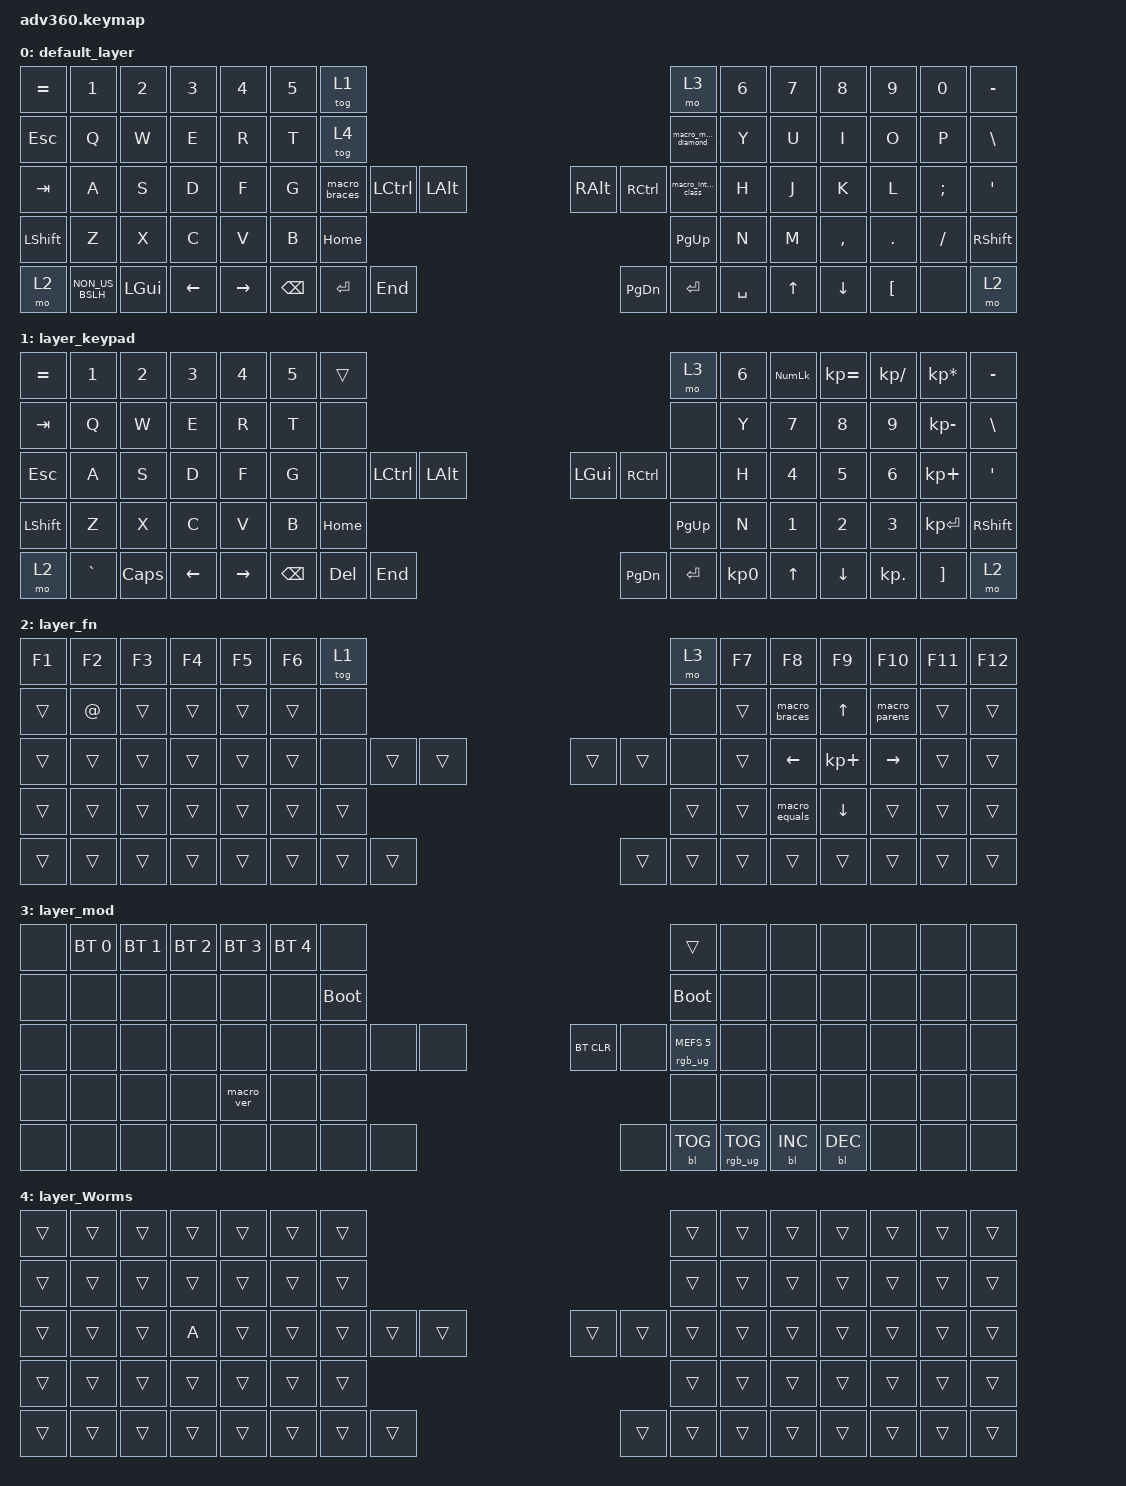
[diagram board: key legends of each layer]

/*
 * Copyright (c) 2020 The ZMK Contributors
 *
 * SPDX-License-Identifier: MIT
 */


/* THIS FILE WAS GENERATED!
 *
 * This file was generated automatically. You may or may not want to
 * edit it directly.
 */

#include <behaviors.dtsi>
#include <dt-bindings/zmk/keys.h>
#include <dt-bindings/zmk/bt.h>
#include <dt-bindings/zmk/rgb.h>
#include <dt-bindings/zmk/backlight.h>

/ {
  behaviors {
    #include "macros.dtsi"
    #include "version.dtsi"

    hm: homerow_mods {
        compatible = "zmk,behavior-hold-tap";
        label = "HOMEROW_MODS";
        #binding-cells = <2>;
        tapping-term-ms = <200>;
        quick_tap_ms = <175>;
        flavor = "tap-preferred";
        bindings = <&kp>, <&kp>;
    };
  };

    keymap {
        compatible = "zmk,keymap";


        default_layer {
            bindings = <
 &kp EQUAL           &kp N1    &kp N2    &kp N3     &kp N4  &kp N5                   &tog 1                                                                                 &mo 3  &kp N6  &kp N7     &kp N8    &kp N9    &kp N0  &kp MINUS
   &kp ESC            &kp Q     &kp W     &kp E      &kp R   &kp T                   &tog 4                                                                  &macro_macro_diamond   &kp Y   &kp U      &kp I     &kp O     &kp P   &kp BSLH
   &kp TAB            &kp A     &kp S     &kp D      &kp F   &kp G            &macro_braces  &kp LCTRL  &kp LEFT_ALT                   &kp RALT  &kp RCTRL  &macro_intellij_class   &kp H   &kp J      &kp K     &kp L  &kp SEMI    &kp SQT
 &kp LSHFT            &kp Z     &kp X     &kp C      &kp V   &kp B                                          &kp HOME                  &kp PG_UP                                     &kp N   &kp M  &kp COMMA   &kp DOT  &kp FSLH  &kp RSHFT
     &mo 2  &kp NON_US_BSLH  &kp LGUI  &kp LEFT  &kp RIGHT                         &kp BSPC  &kp ENTER       &kp END                  &kp PG_DN  &kp ENTER              &kp SPACE          &kp UP   &kp DOWN  &kp LBKT     &none      &mo 2
            >;
        };

        layer_keypad {
            bindings = <
 &kp EQUAL     &kp N1    &kp N2    &kp N3     &kp N4  &kp N5              &trans                                                                 &mo 3  &kp N6    &kp KP_NUM  &kp KP_EQUAL  &kp KP_DIVIDE  &kp KP_MULTIPLY  &kp MINUS
   &kp TAB      &kp Q     &kp W     &kp E      &kp R   &kp T               &none                                                                 &none   &kp Y  &kp NUMBER_7  &kp NUMBER_8         &kp N9     &kp KP_MINUS   &kp BSLH
   &kp ESC      &kp A     &kp S     &kp D      &kp F   &kp G               &none  &kp LCTRL  &kp LALT                   &kp LGUI  &kp RCTRL      &none   &kp H  &kp NUMBER_4  &kp NUMBER_5   &kp NUMBER_6      &kp KP_PLUS    &kp SQT
 &kp LSHFT      &kp Z     &kp X     &kp C      &kp V   &kp B                                 &kp HOME                  &kp PG_UP                         &kp N  &kp NUMBER_1  &kp NUMBER_2   &kp NUMBER_3     &kp KP_ENTER  &kp RSHFT
     &mo 2  &kp GRAVE  &kp CAPS  &kp LEFT  &kp RIGHT                    &kp BSPC    &kp DEL   &kp END                  &kp PG_DN  &kp ENTER  &kp KP_N0                &kp UP      &kp DOWN     &kp KP_DOT         &kp RBKT      &mo 2
            >;
        };

        layer_fn {
            bindings = <
 &kp F1       &kp F2  &kp F3  &kp F4  &kp F5  &kp F6            &tog 1                                                   &mo 3  &kp F7          &kp F8          &kp F9          &kp F10  &kp F11  &kp F12
 &trans  &kp AT_SIGN  &trans  &trans  &trans  &trans             &none                                                   &none  &trans   &macro_braces    &kp UP_ARROW    &macro_parens   &trans   &trans
 &trans       &trans  &trans  &trans  &trans  &trans             &none  &trans  &trans                  &trans  &trans   &none  &trans  &kp LEFT_ARROW     &kp KP_PLUS  &kp RIGHT_ARROW   &trans   &trans
 &trans       &trans  &trans  &trans  &trans  &trans                            &trans                  &trans                  &trans   &macro_equals  &kp DOWN_ARROW           &trans   &trans   &trans
 &trans       &trans  &trans  &trans  &trans                    &trans  &trans  &trans                  &trans  &trans  &trans                  &trans          &trans           &trans   &trans   &trans
            >;
        };

        layer_mod {
            bindings = <
  &none  &bt BT_SEL 0  &bt BT_SEL 1  &bt BT_SEL 2  &bt BT_SEL 3  &bt BT_SEL 4                  &none                                                                          &trans   &none       &none       &none   &none   &none   &none
  &none         &none         &none         &none         &none         &none            &bootloader                                                                     &bootloader   &none       &none       &none   &none   &none   &none
  &none         &none         &none         &none         &none         &none                  &none   &none   &none                  &bt BT_CLR       &none  &rgb_ug RGB_MEFS_CMD 5   &none       &none       &none   &none   &none   &none
  &none         &none         &none         &none    &macro_ver         &none                                  &none                       &none                                       &none       &none       &none   &none   &none   &none
  &none         &none         &none         &none         &none                                &none   &none   &none                       &none  &bl BL_TOG         &rgb_ug RGB_TOG          &bl BL_INC  &bl BL_DEC   &none   &none   &none
            >;
        };

        layer_Worms {
            bindings = <
 &trans  &trans  &trans  &trans  &trans  &trans            &trans                                                  &trans  &trans  &trans  &trans  &trans  &trans  &trans
 &trans  &trans  &trans  &trans  &trans  &trans            &trans                                                  &trans  &trans  &trans  &trans  &trans  &trans  &trans
 &trans  &trans  &trans   &kp A  &trans  &trans            &trans  &trans  &trans                  &trans  &trans  &trans  &trans  &trans  &trans  &trans  &trans  &trans
 &trans  &trans  &trans  &trans  &trans  &trans                            &trans                  &trans                  &trans  &trans  &trans  &trans  &trans  &trans
 &trans  &trans  &trans  &trans  &trans                    &trans  &trans  &trans                  &trans  &trans  &trans          &trans  &trans  &trans  &trans  &trans
            >;
        };

    };
};
